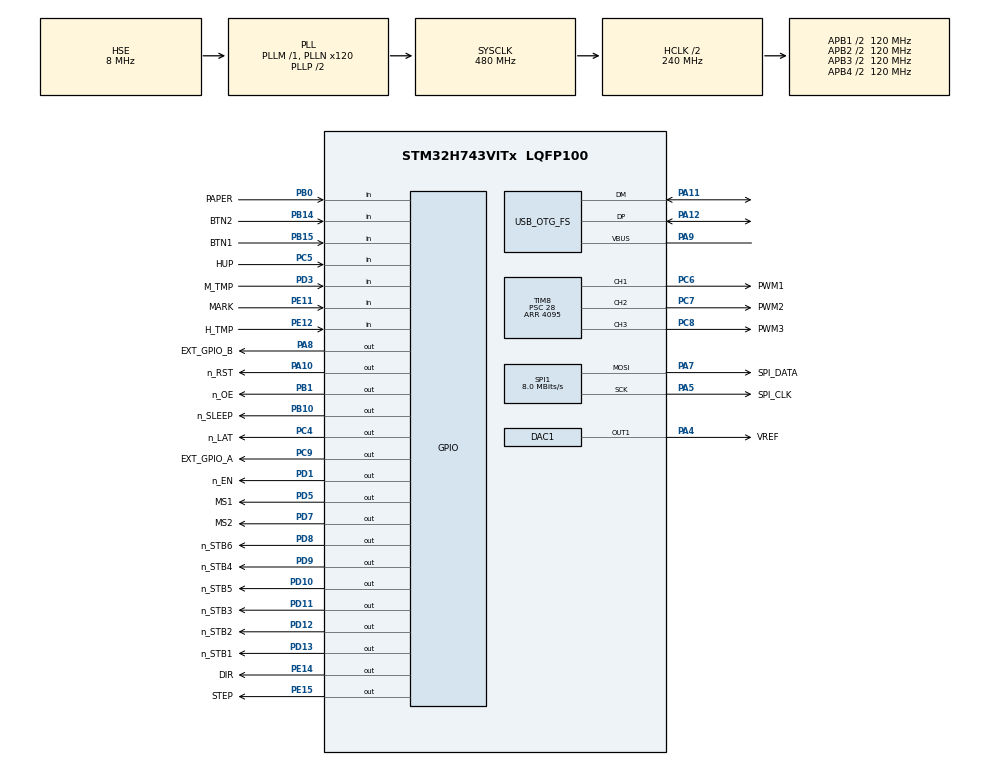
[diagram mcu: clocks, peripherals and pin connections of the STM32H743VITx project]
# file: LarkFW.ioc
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ADC3.Channel-0\#ChannelRegularConversion=ADC_CHANNEL_VREFINT
ADC3.Channel-1\#ChannelRegularConversion=ADC_CHANNEL_TEMPSENSOR
ADC3.ContinuousConvMode=DISABLE
ADC3.ConversionDataManagement=ADC_CONVERSIONDATA_DMA_CIRCULAR
ADC3.ExternalTrigConv=ADC_EXTERNALTRIG_T2_TRGO
ADC3.NbrOfConversion=2
ADC3.NbrOfConversionFlag=1
ADC3.OffsetNumber-0\#ChannelRegularConversion=ADC_OFFSET_NONE
ADC3.OffsetNumber-1\#ChannelRegularConversion=ADC_OFFSET_NONE
ADC3.OffsetSignedSaturation-0\#ChannelRegularConversion=DISABLE
ADC3.OffsetSignedSaturation-1\#ChannelRegularConversion=DISABLE
ADC3.Rank-0\#ChannelRegularConversion=1
ADC3.Rank-1\#ChannelRegularConversion=2
ADC3.SamplingTime-0\#ChannelRegularConversion=ADC_SAMPLETIME_2CYCLES_5
ADC3.SamplingTime-1\#ChannelRegularConversion=ADC_SAMPLETIME_64CYCLES_5
CORTEX_M7.AccessPermission_S-Cortex_Memory_Protection_Unit_Region1_Settings_S=MPU_REGION_FULL_ACCESS
CORTEX_M7.BaseAddress_S-Cortex_Memory_Protection_Unit_Region1_Settings_S=0x24000000
CORTEX_M7.CPU_DCache=Enabled
CORTEX_M7.CPU_ICache=Enabled
CORTEX_M7.DisableExec_S-Cortex_Memory_Protection_Unit_Region1_Settings_S=MPU_INSTRUCTION_ACCESS_DISABLE
CORTEX_M7.Enable_S-Cortex_Memory_Protection_Unit_Region1_Settings_S=MPU_REGION_ENABLE
CORTEX_M7.IsShareable_S-Cortex_Memory_Protection_Unit_Region1_Settings_S=MPU_ACCESS_SHAREABLE
CORTEX_M7.Size_S-Cortex_Memory_Protection_Unit_Region1_Settings_S=MPU_REGION_SIZE_1KB
CORTEX_M7.TypeExtField_S-Cortex_Memory_Protection_Unit_Region1_Settings_S=MPU_TEX_LEVEL1
CORTEX_M7.default_mode_Activation=1
CRC.InputDataInversionMode=CRC_INPUTDATA_INVERSION_BYTE
CRC.OutputDataInversionMode=CRC_OUTPUTDATA_INVERSION_ENABLE
DAC1.DAC_Channel-DAC_OUT1=DAC_CHANNEL_1
Dma.ADC3.0.Direction=DMA_PERIPH_TO_MEMORY
Dma.ADC3.0.EventEnable=DISABLE
Dma.ADC3.0.FIFOMode=DMA_FIFOMODE_DISABLE
Dma.ADC3.0.Instance=DMA1_Stream1
Dma.ADC3.0.MemDataAlignment=DMA_MDATAALIGN_HALFWORD
Dma.ADC3.0.MemInc=DMA_MINC_ENABLE
Dma.ADC3.0.Mode=DMA_CIRCULAR
Dma.ADC3.0.PeriphDataAlignment=DMA_PDATAALIGN_HALFWORD
Dma.ADC3.0.PeriphInc=DMA_PINC_DISABLE
Dma.ADC3.0.Polarity=HAL_DMAMUX_REQ_GEN_RISING
Dma.ADC3.0.Priority=DMA_PRIORITY_LOW
Dma.ADC3.0.RequestNumber=1
Dma.ADC3.0.SignalID=NONE
Dma.ADC3.0.SyncEnable=DISABLE
Dma.ADC3.0.SyncPolarity=HAL_DMAMUX_SYNC_NO_EVENT
Dma.ADC3.0.SyncRequestNumber=1
Dma.ADC3.0.SyncSignalID=NONE
Dma.Request0=ADC3
Dma.Request1=SPI1_TX
Dma.SPI1_TX.1.Direction=DMA_MEMORY_TO_PERIPH
Dma.SPI1_TX.1.EventEnable=DISABLE
Dma.SPI1_TX.1.FIFOMode=DMA_FIFOMODE_DISABLE
Dma.SPI1_TX.1.Instance=DMA1_Stream0
Dma.SPI1_TX.1.MemDataAlignment=DMA_MDATAALIGN_BYTE
Dma.SPI1_TX.1.MemInc=DMA_MINC_ENABLE
Dma.SPI1_TX.1.Mode=DMA_NORMAL
Dma.SPI1_TX.1.PeriphDataAlignment=DMA_PDATAALIGN_BYTE
Dma.SPI1_TX.1.PeriphInc=DMA_PINC_DISABLE
Dma.SPI1_TX.1.Polarity=HAL_DMAMUX_REQ_GEN_RISING
Dma.SPI1_TX.1.Priority=DMA_PRIORITY_LOW
Dma.SPI1_TX.1.RequestNumber=1
Dma.SPI1_TX.1.SignalID=NONE
Dma.SPI1_TX.1.SyncEnable=DISABLE
Dma.SPI1_TX.1.SyncPolarity=HAL_DMAMUX_SYNC_NO_EVENT
Dma.SPI1_TX.1.SyncRequestNumber=1
Dma.SPI1_TX.1.SyncSignalID=NONE
Mcu.Family=STM32H7
Mcu.Name=STM32H743VITx
Mcu.Package=LQFP100
NVIC.DMA1_Stream0_IRQn=true\:0\:0\:false\:false\:true\:false\:true\:true
NVIC.DMA1_Stream1_IRQn=true\:0\:0\:false\:false\:true\:false\:true\:true
NVIC.OTG_FS_IRQn=true\:3\:0\:true\:false\:true\:false\:true\:true
NVIC.PriorityGroup=NVIC_PRIORITYGROUP_4
NVIC.SPI1_IRQn=true\:2\:0\:true\:false\:true\:true\:true\:true
NVIC.TIM3_IRQn=true\:1\:0\:true\:false\:true\:true\:true\:true
NVIC.TIM6_DAC_IRQn=true\:0\:0\:false\:false\:true\:true\:true\:true
PA10.GPIO_Label=n_RST
PA10.PinState=GPIO_PIN_SET
PA10.Signal=GPIO_Output
PA11.Mode=Device_Only
PA11.Signal=USB_OTG_FS_DM
PA12.Mode=Device_Only
PA12.Signal=USB_OTG_FS_DP
PA13\ (JTMS/SWDIO).GPIO_Label=SWDIO
PA13\ (JTMS/SWDIO).Mode=Serial_Wire
PA13\ (JTMS/SWDIO).Signal=DEBUG_JTMS-SWDIO
PA14\ (JTCK/SWCLK).GPIO_Label=SWCLK
PA14\ (JTCK/SWCLK).Mode=Serial_Wire
PA14\ (JTCK/SWCLK).Signal=DEBUG_JTCK-SWCLK
PA4.GPIO_Label=VREF
PA4.Signal=COMP_DAC11_group
PA5.GPIO_Label=SPI_CLK
PA5.Mode=TX_Only_Simplex_Unidirect_Master
PA5.Signal=SPI1_SCK
PA7.GPIO_Label=SPI_DATA
PA7.Mode=TX_Only_Simplex_Unidirect_Master
PA7.Signal=SPI1_MOSI
PA8.GPIO_Label=EXT_GPIO_B
PA8.Signal=GPIO_Output
PA9.Mode=Activate_VBUS
PA9.Signal=USB_OTG_FS_VBUS
PB0.GPIO_Label=PAPER
PB0.Signal=GPIO_Input
PB1.GPIO_Label=n_OE
PB1.PinState=GPIO_PIN_SET
PB1.Signal=GPIO_Output
PB10.GPIO_Label=n_SLEEP
PB10.PinState=GPIO_PIN_SET
PB10.Signal=GPIO_Output
PB14.GPIO_Label=BTN2
PB14.Signal=GPIO_Input
PB15.GPIO_Label=BTN1
PB15.Signal=GPIO_Input
PC4.GPIO_Label=n_LAT
PC4.GPIO_Speed=GPIO_SPEED_FREQ_VERY_HIGH
PC4.PinState=GPIO_PIN_SET
PC4.Signal=GPIO_Output
PC5.GPIO_Label=HUP
PC5.Signal=GPIO_Input
PC6.GPIO_Label=PWM1
PC6.GPIO_Speed=GPIO_SPEED_FREQ_HIGH
PC6.Signal=S_TIM8_CH1
PC7.GPIO_Label=PWM2
PC7.GPIO_Speed=GPIO_SPEED_FREQ_HIGH
PC7.Signal=S_TIM8_CH2
PC8.GPIO_Label=PWM3
PC8.GPIO_Speed=GPIO_SPEED_FREQ_HIGH
PC8.Signal=S_TIM8_CH3
PC9.GPIO_Label=EXT_GPIO_A
PC9.Signal=GPIO_Output
PD1.GPIO_Label=n_EN
PD1.PinState=GPIO_PIN_SET
PD1.Signal=GPIO_Output
PD10.GPIO_Label=n_STB5
PD10.GPIO_Speed=GPIO_SPEED_FREQ_VERY_HIGH
PD10.PinState=GPIO_PIN_SET
PD10.Signal=GPIO_Output
PD11.GPIO_Label=n_STB3
PD11.GPIO_Speed=GPIO_SPEED_FREQ_VERY_HIGH
PD11.PinState=GPIO_PIN_SET
PD11.Signal=GPIO_Output
PD12.GPIO_Label=n_STB2
PD12.GPIO_Speed=GPIO_SPEED_FREQ_VERY_HIGH
PD12.PinState=GPIO_PIN_SET
PD12.Signal=GPIO_Output
PD13.GPIO_Label=n_STB1
PD13.GPIO_Speed=GPIO_SPEED_FREQ_VERY_HIGH
PD13.PinState=GPIO_PIN_SET
PD13.Signal=GPIO_Output
PD3.GPIO_Label=M_TMP
PD3.Signal=GPIO_Input
PD5.GPIO_Label=MS1
PD5.Signal=GPIO_Output
PD7.GPIO_Label=MS2
PD7.Signal=GPIO_Output
PD8.GPIO_Label=n_STB6
PD8.GPIO_Speed=GPIO_SPEED_FREQ_VERY_HIGH
PD8.PinState=GPIO_PIN_SET
PD8.Signal=GPIO_Output
PD9.GPIO_Label=n_STB4
PD9.GPIO_Speed=GPIO_SPEED_FREQ_VERY_HIGH
PD9.PinState=GPIO_PIN_SET
PD9.Signal=GPIO_Output
PE11.GPIO_Label=MARK
PE11.Signal=GPIO_Input
PE12.GPIO_Label=H_TMP
PE12.Signal=GPIO_Input
PE14.GPIO_Label=DIR
PE14.Signal=GPIO_Output
PE15.GPIO_Label=STEP
PE15.GPIO_Speed=GPIO_SPEED_FREQ_VERY_HIGH
PE15.Signal=GPIO_Output
PH0-OSC_IN\ (PH0).Mode=HSE-External-Oscillator
PH0-OSC_IN\ (PH0).Signal=RCC_OSC_IN
PH1-OSC_OUT\ (PH1).Mode=HSE-External-Oscillator
PH1-OSC_OUT\ (PH1).Signal=RCC_OSC_OUT
ProjectManager.HeapSize=0x200
ProjectManager.StackSize=0x400
ProjectManager.TargetToolchain=STM32CubeIDE
RCC.ADCFreq_Value=76000000
RCC.APB1Freq_Value=120000000
RCC.APB2Freq_Value=120000000
RCC.APB3Freq_Value=120000000
RCC.APB4Freq_Value=120000000
RCC.CortexFreq_Value=480000000
RCC.D1PPRE=RCC_APB3_DIV2
RCC.D2PPRE1=RCC_APB1_DIV2
RCC.D2PPRE2=RCC_APB2_DIV2
RCC.D3PPRE=RCC_APB4_DIV2
RCC.DIVM1=1
RCC.DIVM2=1
RCC.DIVN1=120
RCC.DIVN2=19
RCC.DIVQ1=15
RCC.HCLKFreq_Value=240000000
RCC.HPRE=RCC_HCLK_DIV2
RCC.HSE_VALUE=8000000
RCC.PLL2FRACN=0
RCC.PLL3FRACN=0
RCC.PLLFRACN=0
RCC.PLLSourceVirtual=RCC_PLLSOURCE_HSE
RCC.SYSCLKFreq_VALUE=480000000
RCC.SYSCLKSource=RCC_SYSCLKSOURCE_PLLCLK
RCC.USBCLockSelection=RCC_USBCLKSOURCE_HSI48
RCC.USBFreq_Value=48000000
SH.COMP_DAC11_group.0=DAC1_OUT1,DAC_OUT1
SH.S_TIM8_CH1.0=TIM8_CH1,PWM Generation1 CH1
SH.S_TIM8_CH2.0=TIM8_CH2,PWM Generation2 CH2
SH.S_TIM8_CH3.0=TIM8_CH3,PWM Generation3 CH3
SPI1.BaudRatePrescaler=SPI_BAUDRATEPRESCALER_8
SPI1.CalculateBaudRate=8.0 MBits/s
SPI1.DataSize=SPI_DATASIZE_8BIT
SPI1.Direction=SPI_DIRECTION_2LINES_TXONLY
SPI1.Mode=SPI_MODE_MASTER
SPI1.VirtualType=VM_MASTER
TIM2.AutoReloadPreload=TIM_AUTORELOAD_PRELOAD_ENABLE
TIM2.Period=4999
TIM2.Prescaler=23999
TIM2.TIM_MasterOutputTrigger=TIM_TRGO_UPDATE
TIM3.AutoReloadPreload=TIM_AUTORELOAD_PRELOAD_ENABLE
TIM3.Prescaler=119
TIM5.AutoReloadPreload=TIM_AUTORELOAD_PRELOAD_ENABLE
TIM5.Channel-Output\ Compare1\ No\ Output=TIM_CHANNEL_1
TIM5.Prescaler=23
TIM6.AutoReloadPreload=TIM_AUTORELOAD_PRELOAD_ENABLE
TIM6.Period=499
TIM6.Prescaler=23999
TIM8.Channel-PWM\ Generation1\ CH1=TIM_CHANNEL_1
TIM8.Channel-PWM\ Generation2\ CH2=TIM_CHANNEL_2
TIM8.Channel-PWM\ Generation3\ CH3=TIM_CHANNEL_3
TIM8.OCFastMode_PWM-PWM\ Generation1\ CH1=TIM_OCFAST_ENABLE
TIM8.OCFastMode_PWM-PWM\ Generation2\ CH2=TIM_OCFAST_ENABLE
TIM8.OCFastMode_PWM-PWM\ Generation3\ CH3=TIM_OCFAST_ENABLE
TIM8.OCIdleState_1=TIM_OCIDLESTATE_SET
TIM8.OCIdleState_2=TIM_OCIDLESTATE_SET
TIM8.OCIdleState_3=TIM_OCIDLESTATE_SET
TIM8.OCPolarity_1=TIM_OCPOLARITY_LOW
TIM8.OCPolarity_2=TIM_OCPOLARITY_LOW
TIM8.OCPolarity_3=TIM_OCPOLARITY_LOW
TIM8.Period=4095
TIM8.Prescaler=28
USB_DEVICE.CLASS_NAME_FS=CDC
USB_DEVICE.MANUFACTURER_STRING-CDC_FS=HamSlices
USB_DEVICE.PRODUCT_STRING_CDC_FS=Lark Virtual ComPort
USB_DEVICE.VirtualMode-CDC_FS=Cdc
USB_DEVICE.VirtualModeFS=Cdc_FS
USB_OTG_FS.VirtualMode=Device_Only
VP_ADC3_TempSens_Input.Mode=IN-TempSens
VP_ADC3_Vref_Input.Mode=IN-Vrefint
VP_CRC_VS_CRC.Mode=CRC_Activate
VP_MEMORYMAP_VS_MEMORYMAP.Mode=CurAppReg
VP_TIM2_VS_ClockSourceINT.Mode=Internal
VP_TIM3_VS_ClockSourceINT.Mode=Internal
VP_TIM5_VS_ClockSourceINT.Mode=Internal
VP_TIM5_VS_no_output1.Mode=Output Compare1 No Output
VP_TIM6_VS_ClockSourceINT.Mode=Enable_Timer
VP_TIM6_VS_OPM.Mode=OPM_bit
VP_TIM8_VS_ClockSourceINT.Mode=Internal
VP_USB_DEVICE_VS_USB_DEVICE_CDC_FS.Mode=CDC_FS
board=custom

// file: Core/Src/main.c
/* USER CODE BEGIN Header */
/**
  ******************************************************************************
  * @file           : main.c
  * @brief          : Main program body
  ******************************************************************************
  * @attention
  *
  * Copyright (c) 2025 STMicroelectronics.
  * All rights reserved.
  *
  * This software is licensed under terms that can be found in the LICENSE file
  * in the root directory of this software component.
  * If no LICENSE file comes with this software, it is provided AS-IS.
  *
  ******************************************************************************
  */

/**
 ******************************************************************************

  ██╗  ██╗ █████╗ ███╗   ███╗███████╗██╗     ██╗ ██████╗███████╗███████╗
  ██║  ██║██╔══██╗████╗ ████║██╔════╝██║     ██║██╔════╝██╔════╝██╔════╝
  ███████║███████║██╔████╔██║███████╗██║     ██║██║     █████╗  ███████╗
  ██╔══██║██╔══██║██║╚██╔╝██║╚════██║██║     ██║██║     ██╔══╝  ╚════██║
  ██║  ██║██║  ██║██║ ╚═╝ ██║███████║███████╗██║╚██████╗███████╗███████║
  ╚═╝  ╚═╝╚═╝  ╚═╝╚═╝     ╚═╝╚══════╝╚══════╝╚═╝ ╚═════╝╚══════╝╚══════╝
														  HamSlices 2025
	Lark Print Engine Firmware
	Revision 01.07

	For Hardware Revision 01.00.01 & 01.00.02

		A HW_bug in REV 01.00.01 prevents the raw head
		temperature value from being read by the ADC.

	---------------------------------------------------------------------------

	@attention

	Copyright (C) 2025 HamSlices

	This program is free software: you can redistribute it and/or modify
	it under the terms of the GNU General Public License as published by
	the Free Software Foundation.

	This program is distributed in the hope that it will be useful,
	but WITHOUT ANY WARRANTY; without even the implied warranty of
	MERCHANTABILITY or FITNESS FOR A PARTICULAR PURPOSE.  See the
	GNU General Public License for more details.

	You should have received a copy of the GNU General Public License
	along with this program.  If not, see <https://www.gnu.org/licenses/>.

	---------------------------------------------------------------------------
	Change Log:

		(08/16/2025) Created the Project, will continue development once
						the hardware arrives and is assembled.
		(08/25/2025) Added some typedef's and timer call backs.
		(08/31/2025) Integrating test code into project.
		(08/31/2025) Fixed timer 1 configuration, added set led functions
		(08/31/2025) Added start up color wheel routine
		(08/32/2025) Nuked existing code.
		(08/32/2025) Added new codebase.
		(09/06/2025) Added new new codebase.
		(09/07/2025) Fixed lost packet issue, fixed motor and strobe timing.
		(09/07/2025) Enabled Icache & Dcache.
		(09/07/2025) Fixed lost first line.
		(09/08/2025) Re-factored protocol handler (now a table)
		(09/08/2025) Added error reporting for hard faults
		(09/08/2025) Added flash ware leveling
		(09/08/2025) Swapped led channels
		(09/08/2025) Fixed linker script
		(09/09/2025) Fixed zero darkness bug, now prints at zero darkness.
		(09/09/2025) Added real motor movement command VS sending blank lines.
		(09/09/2025) Updated Comments.
		(09/11/2025) Added non cached memory of 1K to fix DMA issue
						(I changed the linker script again)
						Now using the memory protection unit for cache exclusion.
		(09/11/2025) Added CPU Temperature Readout, now using ADC3 and Timer 2.
		(09/11/2025) Added S-Curve to motor function ramp-up/ramp-down.
		(09/11/2025) Moved timer calculations to separate files.
		(09/11/2025) Now using ADC3 and Timer 2.
		(09/11/2025) post-build script is now associated with 'Flash' build.
						This preserves both 'Release' and 'Debug' builds.
		(09/12/2025) Fixed Bootloader jump function.
		(09/12/2025) Modified config_mamager.c, uses a pointer lut to clamp values
		(09/12/2025) Removed Pause state.
		(09/12/2025) Changed LED state colors.
		(09/12/2025) Other minor changes + formatting.
		(09/12/2025) Button now clears all faults.
		(09/12/2025) Added timeout logic to parser.
		(09/12/2025) Added job aborted state.
		(09/12/2025) Fixed Shutdown cases to be graceful.
		(09/13/2025) Fixed lost packet bug in the CDC parser
		(09/13/2025) Added fault logging.
		(09/20/2025) Added printer stats that save to non volatile memory,
						and refactored config_mananger.
		(09/20/2025) Separated Stats from configuration, fixed flash writes and reads.
		(10/05/2025) Fixed job start counter, increased image buffer size,
		                fixed user configuration counter.
		(10/23/2025) Inverted Strobe and PWM logic.
		-----------------------------------------------------------------------

		(10/25/2025) Moved code from old project.
		                Flip-ed PWM polarity in MXcube, reverted PWM inversion code.
		                Rev-ed Firmware Version.
		                Tested compilation.
		(10/28/2025) changed self test image from 'fluffy cat' to 'soaring magpie Lark'.
		(11/01/2025) fixed self test image size in asset.h new test image size is (1728x846).

        =======================================================================

        TODO: Check Motor 'direction' and 'ratio' pin values for proper polarity.
		TODO: Build Hardware.

		=======================================================================

     Application Build Result (Release -O3) ...................... [10/28/2025]
	 --------------------------------------------------------------------------
 	 Application ...................................... [Bank 1] Size 71.22  KB
 	 Self Test Image .......................[Sector 4-5][Bank 2] Size 178.45 KB
 	 Statistics Counter ....................[Sector   6][Bank 2] Size 128    KB
 	 User Configuration ....................[Sector   7][Bank 2] Size 128    KB
     --------------------------------------------------------------------------
 	 RAM Cache-less ................................... [D1]     Size 384    KB
 	 RAM .............................................. [D1]     Size 65.22  KB
 	 --------------------------------------------------------------------------

 ******************************************************************************
 */

/* USER CODE END Header */
#include "main.h"
#include "adc.h"
#include "crc.h"
#include "dac.h"
#include "dma.h"
#include "spi.h"
#include "tim.h"
#include "usb_device.h"
#include "gpio.h"

/* USER CODE BEGIN PTD */
typedef struct {
    void (*task_func)(void);    // Pointer to the task function
    uint32_t period_ms;         // How often the task should run (in milliseconds)
    uint32_t last_run_ms;       // The tick time when the task last ran
} scheduler_task_t;
/* USER CODE END PTD */

/* USER CODE BEGIN PV */
uint8_t rx_buffer_memory[RX_BUFFER_SIZE];
ring_buffer_spsc_t my_rx_buffer;
uint8_t image_line_buffer_memory[IMAGE_LINE_BUFFER_SIZE];
ring_buffer_spsc_t image_line_buffer;
/* USER CODE END PV */

void SystemClock_Config(void);
static void MPU_Config(void);
/* USER CODE BEGIN PFP */
static void initialize_system_modules(void);
static void hardware_status_poll(void);
/* USER CODE END PFP */

/* USER CODE BEGIN 0 */
// Define the schedule for our non-critical tasks.
scheduler_task_t housekeeping_tasks[] = {
    // Task Function,                Period (ms), Last Run
    { button_handler_poll,            50,          0 }, // Poll buttons every 50ms
    { hardware_status_poll,           10,          0 }, // Poll HW status every 10ms
    { led_manager_update,             20,          0 }, // Update LED every 20ms
    { temp_sensor_process,            100,         0 }  // Poll Temperature conversion
};

const size_t housekeeping_task_count = sizeof(housekeeping_tasks) / sizeof(housekeeping_tasks[0]);
/* USER CODE END 0 */

int main(void)
{

  /* MPU Configuration--------------------------------------------------------*/
  MPU_Config();

  /* Enable the CPU Cache */

  /* Enable I-Cache---------------------------------------------------------*/
  SCB_EnableICache();

  /* Enable D-Cache---------------------------------------------------------*/
  SCB_EnableDCache();

  /* MCU Configuration--------------------------------------------------------*/

  /* Reset of all peripherals, Initializes the Flash interface and the Systick. */
  HAL_Init();

  /* Configure the system clock */
  SystemClock_Config();

  /* Initialize all configured peripherals */
  MX_GPIO_Init();
  MX_DMA_Init();
  MX_ADC3_Init();
  MX_CRC_Init();
  MX_DAC1_Init();
  MX_SPI1_Init();
  MX_USB_DEVICE_Init();
  MX_TIM2_Init();
  MX_TIM3_Init();
  MX_TIM5_Init();
  MX_TIM6_Init();
  MX_TIM8_Init();
  /* USER CODE BEGIN 2 */

  initialize_system_modules();

  /* USER CODE END 2 */

  /* Infinite loop */
  /* USER CODE BEGIN WHILE */
  while (1)
  {
      // --- 1. HIGH-PRIORITY "FAST LOOP" ---
      // These tasks run on every single iteration of the while loop to minimize latency.
      // They are critical for keeping the data pipeline full.
      protocol_handle_usb_data_flow();
      print_engine_manage_state();

      // --- 2. LOW-PRIORITY "SCHEDULED LOOP" ---
      // These housekeeping tasks do not need to run as frequently.
      // We use the scheduler to run them at a relaxed, predictable rate.
      uint32_t current_tick = HAL_GetTick();

      for (size_t i = 0; i < housekeeping_task_count; ++i) {
          if (current_tick - housekeeping_tasks[i].last_run_ms >= housekeeping_tasks[i].period_ms) {
              housekeeping_tasks[i].task_func(); // Execute the housekeeping task
              housekeeping_tasks[i].last_run_ms = current_tick; // Record the time it ran
          }
      }

    /* USER CODE END WHILE */

  }
}

void SystemClock_Config(void)
{
  RCC_OscInitTypeDef RCC_OscInitStruct = {0};
  RCC_ClkInitTypeDef RCC_ClkInitStruct = {0};

  /** Supply configuration update enable
  */
  HAL_PWREx_ConfigSupply(PWR_LDO_SUPPLY);

  /** Configure the main internal regulator output voltage
  */
  __HAL_PWR_VOLTAGESCALING_CONFIG(PWR_REGULATOR_VOLTAGE_SCALE0);

  while(!__HAL_PWR_GET_FLAG(PWR_FLAG_VOSRDY)) {}

  /** Initializes the RCC Oscillators according to the specified parameters
  * in the RCC_OscInitTypeDef structure.
  */
  RCC_OscInitStruct.OscillatorType = RCC_OSCILLATORTYPE_HSI48|RCC_OSCILLATORTYPE_HSE;
  RCC_OscInitStruct.HSEState = RCC_HSE_ON;
  RCC_OscInitStruct.HSI48State = RCC_HSI48_ON;
  RCC_OscInitStruct.PLL.PLLState = RCC_PLL_ON;
  RCC_OscInitStruct.PLL.PLLSource = RCC_PLLSOURCE_HSE;
  RCC_OscInitStruct.PLL.PLLM = 1;
  RCC_OscInitStruct.PLL.PLLN = 120;
  RCC_OscInitStruct.PLL.PLLP = 2;
  RCC_OscInitStruct.PLL.PLLQ = 15;
  RCC_OscInitStruct.PLL.PLLR = 2;
  RCC_OscInitStruct.PLL.PLLRGE = RCC_PLL1VCIRANGE_3;
  RCC_OscInitStruct.PLL.PLLVCOSEL = RCC_PLL1VCOWIDE;
  RCC_OscInitStruct.PLL.PLLFRACN = 0;
  if (HAL_RCC_OscConfig(&RCC_OscInitStruct) != HAL_OK)
  {
    Error_Handler();
  }

  /** Initializes the CPU, AHB and APB buses clocks
  */
  RCC_ClkInitStruct.ClockType = RCC_CLOCKTYPE_HCLK|RCC_CLOCKTYPE_SYSCLK
                              |RCC_CLOCKTYPE_PCLK1|RCC_CLOCKTYPE_PCLK2
                              |RCC_CLOCKTYPE_D3PCLK1|RCC_CLOCKTYPE_D1PCLK1;
  RCC_ClkInitStruct.SYSCLKSource = RCC_SYSCLKSOURCE_PLLCLK;
  RCC_ClkInitStruct.SYSCLKDivider = RCC_SYSCLK_DIV1;
  RCC_ClkInitStruct.AHBCLKDivider = RCC_HCLK_DIV2;
  RCC_ClkInitStruct.APB3CLKDivider = RCC_APB3_DIV2;
  RCC_ClkInitStruct.APB1CLKDivider = RCC_APB1_DIV2;
  RCC_ClkInitStruct.APB2CLKDivider = RCC_APB2_DIV2;
  RCC_ClkInitStruct.APB4CLKDivider = RCC_APB4_DIV2;

  if (HAL_RCC_ClockConfig(&RCC_ClkInitStruct, FLASH_LATENCY_4) != HAL_OK)
  {
    Error_Handler();
  }
}

/* USER CODE BEGIN 4 */

static void initialize_system_modules(void) {
    // Initialize low-level utilities first
	system_utils_calculate_flash_hash(); //hashes the system flash

	// Initialize ADC & PWM & TIMER
    if (HAL_TIM_Base_Start(&htim2) != HAL_OK) { Error_Handler(); }
    if (temp_sensor_init(&hadc3)   != HAL_OK) { Error_Handler(); }
    if (led_manager_init()         != HAL_OK) { Error_Handler(); }

    // Initialize buffers
    ring_buffer_spsc_init(&my_rx_buffer, rx_buffer_memory, RX_BUFFER_SIZE);
    ring_buffer_spsc_init(&image_line_buffer, image_line_buffer_memory, IMAGE_LINE_BUFFER_SIZE);

    // Initialize main application modules
    config_manager_init();
    protocol_init(&my_rx_buffer, &image_line_buffer);
    print_engine_init(&image_line_buffer);
    hardware_init();

    // Create an instance of the callback structure...
    button_handler_callbacks_t button_callbacks = {
        .on_self_test_triggered = print_engine_start_self_test_job,
        .on_stock_advance_start = print_engine_advance_stock,
        .on_stock_advance_stop  = print_engine_stop_stock_advance
    };
    button_handler_init(&button_callbacks);

    // Final readiness check and visual feedback
    if (!(print_engine_get_realtime_status() & STATUS_FATAL_ERROR)) {
        led_manager_run_color_wheel();
    }
}

static void hardware_status_poll(void)
{
    uint32_t current_io_status = hardware_poll_status_pins();
    print_engine_update_io_status(current_io_status);
}

// --- HAL CALLBACKS / ISRs ---

void HAL_SPI_TxCpltCallback(SPI_HandleTypeDef *hspi) {
    if (hspi->Instance == SPI1) {
    	print_engine_hw_spi_tx_complete_callback();
    }
}

void HAL_TIM_PeriodElapsedCallback(TIM_HandleTypeDef *htim) {
    if (htim->Instance == TIM3) {
        print_engine_hw_step_isr();
    }
    else if (htim->Instance == TIM6) {
        print_engine_hw_watchdog_isr();
    }
}

void HAL_TIM_OC_DelayElapsedCallback(TIM_HandleTypeDef *htim) {
    if (htim->Instance == TIM5) {
        print_engine_hw_strobe_off_isr();
    }
}

/* USER CODE END 4 */

 /* MPU Configuration */

void MPU_Config(void)
{
  MPU_Region_InitTypeDef MPU_InitStruct = {0};

  /* Disables the MPU */
  HAL_MPU_Disable();

  /** Initializes and configures the Region and the memory to be protected
  */
  MPU_InitStruct.Enable = MPU_REGION_ENABLE;
  MPU_InitStruct.Number = MPU_REGION_NUMBER0;
  MPU_InitStruct.BaseAddress = 0x0;
  MPU_InitStruct.Size = MPU_REGION_SIZE_4GB;
  MPU_InitStruct.SubRegionDisable = 0x87;
  MPU_InitStruct.TypeExtField = MPU_TEX_LEVEL0;
  MPU_InitStruct.AccessPermission = MPU_REGION_NO_ACCESS;
  MPU_InitStruct.DisableExec = MPU_INSTRUCTION_ACCESS_DISABLE;
  MPU_InitStruct.IsShareable = MPU_ACCESS_SHAREABLE;
  MPU_InitStruct.IsCacheable = MPU_ACCESS_NOT_CACHEABLE;
  MPU_InitStruct.IsBufferable = MPU_ACCESS_NOT_BUFFERABLE;

  HAL_MPU_ConfigRegion(&MPU_InitStruct);

  /** Initializes and configures the Region and the memory to be protected
  */
  MPU_InitStruct.Number = MPU_REGION_NUMBER1;
  MPU_InitStruct.BaseAddress = 0x24000000;
  MPU_InitStruct.Size = MPU_REGION_SIZE_1KB;
  MPU_InitStruct.SubRegionDisable = 0x0;
  MPU_InitStruct.TypeExtField = MPU_TEX_LEVEL1;
  MPU_InitStruct.AccessPermission = MPU_REGION_FULL_ACCESS;

  HAL_MPU_ConfigRegion(&MPU_InitStruct);
  /* Enables the MPU */
  HAL_MPU_Enable(MPU_PRIVILEGED_DEFAULT);

}

void Error_Handler(void)
{
  /* USER CODE BEGIN Error_Handler_Debug */
  // A HAL or other application-level fatal error has occurred.
  // Call the central error reporter to indicate the fault.
  // This function will never return.
  error_reporter_indicate_fatal_error();
  /* USER CODE END Error_Handler_Debug */
}
